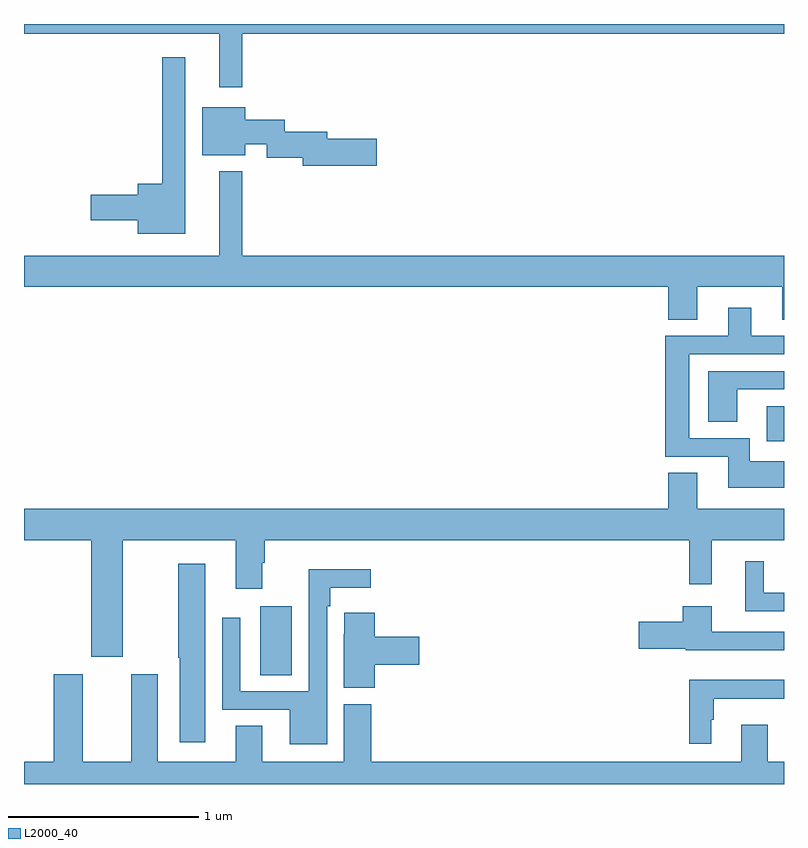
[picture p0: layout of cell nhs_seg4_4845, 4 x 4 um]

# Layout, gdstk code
import gdstk
lib = gdstk.Library(unit=1e-6, precision=1e-09)
def R(c, l, rs):  # rectangles x0, y0, x1, y1
    for r in rs: c.add(gdstk.rectangle(r[:2], r[2:], *l))
def P(c, l, *ps):  # polygons
    for p in ps: c.add(gdstk.Polygon(p, *l))
L2000_40 = (2000, 40)

nhs_seg4_4845 = lib.new_cell('nhs_seg4_4845')
R(nhs_seg4_4845, L2000_40, [(374.243,765.472,374.41,765.835), (376.91,766.703,377,766.888)])
P(nhs_seg4_4845, L2000_40, [(374.149,768.848),(377,768.848),(377,768.9),(373,768.9),(373,768.848),(374.027,768.848),(374.027,768.567),(374.149,768.567)],
  [(373.849,768.724),(373.728,768.724),(373.728,768.058),(373.598,768.058),(373.598,768.002),(373.35,768.002),(373.35,767.867),(373.598,767.867),(373.598,767.795),(373.849,767.795)],
  [(374.857,768.296),(374.596,768.296),(374.596,768.332),(374.373,768.332),(374.373,768.397),(374.164,768.397),(374.164,768.463),(373.937,768.463),(373.937,768.209),(374.164,768.209),(374.164,768.268),(374.277,768.268),(374.277,768.196),(374.468,768.196),(374.468,768.154),(374.857,768.154)],
  [(376.543,767.516),(376.991,767.516),(376.991,767.344),(377,767.344),(377,767.68),(374.149,767.68),(374.149,768.124),(374.027,768.124),(374.027,767.68),(373,767.68),(373,767.516),(376.391,767.516),(376.391,767.344),(376.543,767.344)],
  [(377,766.599),(376.819,766.599),(376.819,766.719),(376.501,766.719),(376.501,767.163),(377,767.163),(377,767.259),(376.828,767.259),(376.828,767.407),(376.706,767.407),(376.706,767.259),(376.376,767.259),(376.376,766.623),(376.706,766.623),(376.706,766.46),(377,766.46)],
  [(376.753,766.977),(377,766.977),(377,767.073),(376.601,767.073),(376.601,766.806),(376.753,766.806)],
  [(373.519,766.184),(374.114,766.184),(374.114,765.927),(374.254,765.927),(374.254,766.064),(374.267,766.064),(374.267,766.184),(376.501,766.184),(376.501,765.951),(376.619,765.951),(376.619,766.184),(377,766.184),(377,766.348),(376.543,766.348),(376.543,766.538),(376.391,766.538),(376.391,766.348),(373,766.348),(373,766.184),(373.355,766.184),(373.355,765.57),(373.519,765.57)],
  [(377,765.906),(376.894,765.906),(376.894,766.072),(376.796,766.072),(376.796,765.81),(377,765.81)],
  [(373.954,766.06),(373.813,766.06),(373.813,765.565),(373.82,765.565),(373.82,765.12),(373.954,765.12)],
  [(374.595,765.836),(374.611,765.836),(374.611,765.932),(374.824,765.932),(374.824,766.03),(374.499,766.03),(374.499,765.387),(374.139,765.387),(374.139,765.775),(374.043,765.775),(374.043,765.291),(374.399,765.291),(374.399,765.11),(374.595,765.11)],
  [(377,765.702),(376.621,765.702),(376.621,765.835),(376.466,765.835),(376.466,765.753),(376.236,765.753),(376.236,765.611),(376.482,765.611),(376.482,765.605),(377,765.605)],
  [(374.846,765.527),(375.079,765.527),(375.079,765.674),(374.846,765.674),(374.846,765.802),(374.685,765.802),(374.685,765.689),(374.684,765.689),(374.684,765.406),(374.846,765.406)],
  [(377,765.016),(376.915,765.016),(376.915,765.211),(376.775,765.211),(376.775,765.016),(374.828,765.016),(374.828,765.321),(374.684,765.321),(374.684,765.016),(374.254,765.016),(374.254,765.206),(374.114,765.206),(374.114,765.016),(373.705,765.016),(373.705,765.478),(373.565,765.478),(373.565,765.016),(373.309,765.016),(373.309,765.478),(373.157,765.478),(373.157,765.016),(373,765.016),(373,764.9),(377,764.9)],
  [(376.618,765.239),(376.63,765.239),(376.63,765.35),(377,765.35),(377,765.448),(376.501,765.448),(376.501,765.111),(376.618,765.111)])

lib.write_gds('nhs_seg4_4845.gds')
